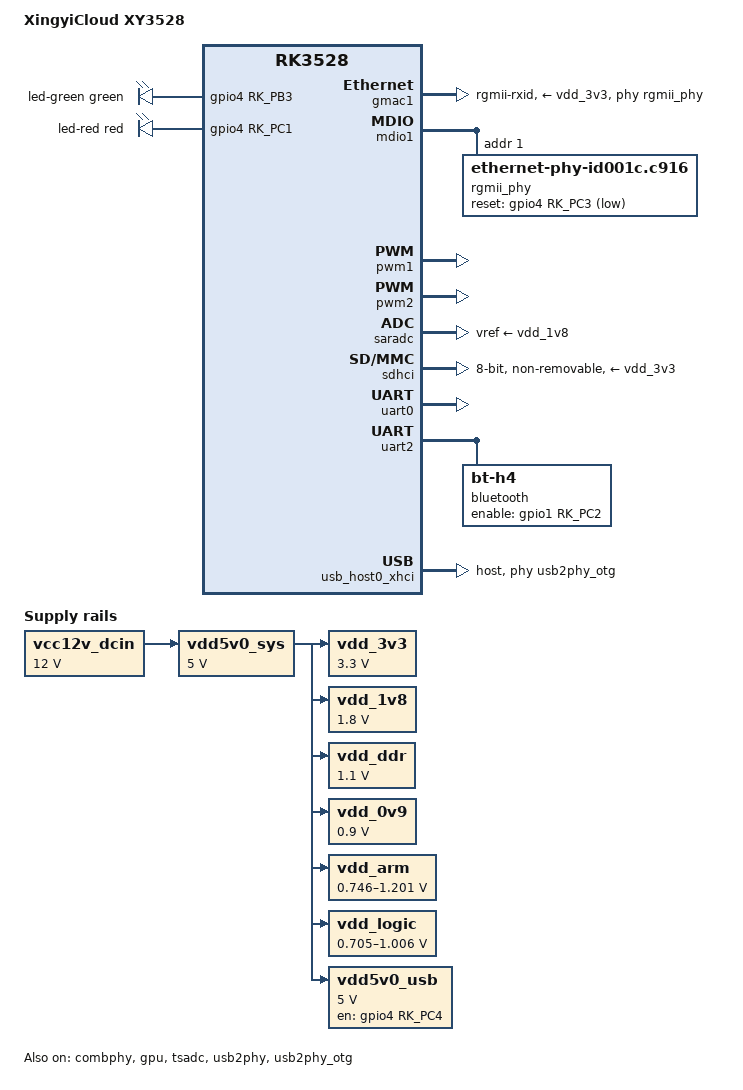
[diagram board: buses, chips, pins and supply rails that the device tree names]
// SPDX-License-Identifier: (GPL-2.0+ OR MIT)


/dts-v1/;

#include <dt-bindings/gpio/gpio.h>
#include <dt-bindings/input/input.h>
#include <dt-bindings/leds/common.h>
#include <dt-bindings/pwm/pwm.h>
#include "rk3528.dtsi"
#include "rk3528-op-pwm.dtsi"

/ {
	model = "XingyiCloud XY3528";
	compatible = "xingyicloud,xy3528", "rockchip,rk3528";

	aliases {
		ethernet0 = &gmac1;
		mmc0 = &sdhci;
		serial0 = &uart0;
		serial1 = &uart2;
	};

	chosen: chosen {
		stdout-path = "serial0:1500000n8";
	};

	reserved-memory {
		#address-cells = <2>;
		#size-cells = <2>;
		ranges;

		linux,cma {
			compatible = "shared-dma-pool";
			reusable;
			size = <0x0 0x04000000>;
			linux,cma-default;
		};
	};

	leds {
		compatible = "gpio-leds";
		pinctrl-names = "default";
		pinctrl-0 = <&power_led_pins>;

		led-green {
			color = <LED_COLOR_ID_GREEN>;
			function = LED_FUNCTION_POWER;
			gpios = <&gpio4 RK_PB3 GPIO_ACTIVE_HIGH>;
			default-state = "on";
		};

		led-red {
			color = <LED_COLOR_ID_RED>;
			function = LED_FUNCTION_POWER;
			gpios = <&gpio4 RK_PC1 GPIO_ACTIVE_HIGH>;
			default-state = "off";
		};
	};

	vcc12v_dcin: regulator-vcc12v-dcin {
		compatible = "regulator-fixed";
		regulator-name = "vcc12v_dcin";
		regulator-always-on;
		regulator-boot-on;
		regulator-min-microvolt = <12000000>;
		regulator-max-microvolt = <12000000>;
	};

	vdd5v0_sys: regulator-vdd5v0-sys {
		compatible = "regulator-fixed";
		regulator-name = "vdd5v0_sys";
		regulator-always-on;
		regulator-boot-on;
		regulator-min-microvolt = <5000000>;
		regulator-max-microvolt = <5000000>;
		vin-supply = <&vcc12v_dcin>;
	};

	vdd_3v3: regulator-vdd-3v3 {
		compatible = "regulator-fixed";
		regulator-name = "vdd_3v3";
		regulator-always-on;
		regulator-boot-on;
		regulator-min-microvolt = <3300000>;
		regulator-max-microvolt = <3300000>;
		vin-supply = <&vdd5v0_sys>;
	};

	vdd_1v8: regulator-vdd-1v8 {
		compatible = "regulator-fixed";
		regulator-name = "vdd_1v8";
		regulator-always-on;
		regulator-boot-on;
		regulator-min-microvolt = <1800000>;
		regulator-max-microvolt = <1800000>;
		vin-supply = <&vdd5v0_sys>;
	};

	vdd_ddr: regulator-vdd-ddr {
		compatible = "regulator-fixed";
		regulator-name = "vdd_ddr";
		regulator-always-on;
		regulator-boot-on;
		regulator-min-microvolt = <1100000>;
		regulator-max-microvolt = <1100000>;
		vin-supply = <&vdd5v0_sys>;
	};

	vdd_0v9: regulator-vdd-0v9 {
		compatible = "regulator-fixed";
		regulator-name = "vdd_0v9";
		regulator-always-on;
		regulator-boot-on;
		regulator-min-microvolt = <900000>;
		regulator-max-microvolt = <900000>;
		vin-supply = <&vdd5v0_sys>;
	};

	vdd_arm: regulator-vdd-arm {
		compatible = "pwm-regulator";
		pwms = <&pwm1 0 5000 PWM_POLARITY_INVERTED>;
		regulator-always-on;
		regulator-boot-on;
		regulator-init-microvolt = <953000>;
		regulator-min-microvolt = <746000>;
		regulator-max-microvolt = <1201000>;
		regulator-name = "vdd_arm";
		regulator-settling-time-up-us = <250>;
		pwm-supply = <&vdd5v0_sys>;
		status = "okay";
	};

	vdd_logic: regulator-vdd-logic {
		compatible = "pwm-regulator";
		pwms = <&pwm2 0 5000 PWM_POLARITY_INVERTED>;
		regulator-always-on;
		regulator-boot-on;
		regulator-init-microvolt = <950000>;
		regulator-min-microvolt = <705000>;
		regulator-max-microvolt = <1006000>;
		regulator-name = "vdd_logic";
		regulator-settling-time-up-us = <250>;
		pwm-supply = <&vdd5v0_sys>;
		status = "okay";
	};

	/*
	 * VBUS for the USB 3.0 host port.
	 * The port is wired to the single DWC3 (OTG) controller with its
	 * companion USB2 PHY; a load switch on GPIO4_C4 supplies VBUS.
	 */
	vdd5v0_usb: regulator-vdd5v0-usb {
		compatible = "regulator-fixed";
		enable-active-high;
		gpio = <&gpio4 RK_PC4 GPIO_ACTIVE_HIGH>;
		pinctrl-names = "default";
		pinctrl-0 = <&vdd5v0_usb_en>;
		regulator-always-on;
		regulator-boot-on;
		regulator-name = "vdd5v0_usb";
		regulator-min-microvolt = <5000000>;
		regulator-max-microvolt = <5000000>;
		vin-supply = <&vdd5v0_sys>;
	};
};

/* combination PHY: used in USB3 mode for the USB 3.0 port (no PCIe device) */
&combphy {
	status = "okay";
};

&cpu0 {
	cpu-supply = <&vdd_arm>;
};

&cpu1 {
	cpu-supply = <&vdd_arm>;
};

&cpu2 {
	cpu-supply = <&vdd_arm>;
};

&cpu3 {
	cpu-supply = <&vdd_arm>;
};

/*
 * Only GMAC1 is used on this board: RGMII to an external RTL8211F.
 * GMAC0 (RMII) is left disabled so that OpenWrt sees a single eth0.
 *
 * Delays follow the vendor Android tree: the PHY adds the RX delay
 * (phy-mode "rgmii-rxid") and the MAC adds the TX delay (tx_delay).
 */
&gmac1 {
	/*
	 * snps,tso can cause the netdev watchdog to time out on
	 * this GMAC; drop it.
	 */
	/delete-property/ snps,tso;

	clock_in_out = "output";
	phy-handle = <&rgmii_phy>;
	phy-mode = "rgmii-rxid";
	phy-supply = <&vdd_3v3>;

	pinctrl-names = "default";
	pinctrl-0 = <&rgmii_miim>, <&rgmii_tx_bus2>, <&rgmii_rx_bus2>,
		    <&rgmii_rgmii_clk>, <&rgmii_rgmii_bus>;

	tx_delay = <0x30>;
	rx_delay = <0x00>;

	status = "okay";
};

&gpu {
	mali-supply = <&vdd_logic>;
	status = "okay";
};

&mdio1 {
	rgmii_phy: ethernet-phy@1 {
		/* Realtek RTL8211F (phy id 0x001cc916) */
		compatible = "ethernet-phy-id001c.c916";
		reg = <0x1>;

		pinctrl-names = "default";
		pinctrl-0 = <&gmac1_reset_l>;

		/* RTL8211F requires 20 ms assert / 100 ms deassert */
		reset-assert-us = <20000>;
		reset-deassert-us = <100000>;
		reset-gpios = <&gpio4 RK_PC3 GPIO_ACTIVE_LOW>;
	};
};

&pinctrl {
	gmac {
		gmac1_reset_l: gmac1-reset-l {
			rockchip,pins = <4 RK_PC3 RK_FUNC_GPIO &pcfg_pull_none>;
		};
	};

	leds {
		power_led_pins: power-led-pins {
			rockchip,pins = <4 RK_PB3 RK_FUNC_GPIO &pcfg_pull_none>,
					<4 RK_PC1 RK_FUNC_GPIO &pcfg_pull_none>;
		};
	};

	usb {
		vdd5v0_usb_en: vdd5v0-usb-en {
			rockchip,pins = <4 RK_PC4 RK_FUNC_GPIO &pcfg_pull_none>;
		};
	};
};

&pwm1 {
	pinctrl-names = "default";
	pinctrl-0 = <&pwm1m0_pins>;
	status = "okay";
};

&pwm2 {
	pinctrl-names = "default";
	pinctrl-0 = <&pwm2m0_pins>;
	status = "okay";
};

&saradc {
	status = "okay";
	vref-supply = <&vdd_1v8>;
};

/* on-board 128 GiB eMMC */
&sdhci {
	bus-width = <8>;
	cap-mmc-highspeed;
	mmc-hs200-1_8v;
	no-sd;
	no-sdio;
	non-removable;
	pinctrl-names = "default";
	pinctrl-0 = <&emmc_clk>, <&emmc_cmd>, <&emmc_strb>, <&emmc_bus8>;
	vmmc-supply = <&vdd_3v3>;
	vqmmc-supply = <&vdd_1v8>;
	status = "okay";
};

&tsadc {
	status = "okay";
};

/* debug console: UART0 M0 on GPIO4_C7 (RX) / GPIO4_D0 (TX), 1.5 MBaud */
&uart0 {
	pinctrl-names = "default";
	pinctrl-0 = <&uart0m0_xfer>;
	status = "okay";
};

/*
 * Realtek RTL8761BTV bluetooth, UART attached.
 */
&uart2 {
	pinctrl-names = "default";
	pinctrl-0 = <&uart2m1_xfer>, <&uart2m1_ctsn>, <&uart2m1_rtsn>;
	uart-has-rtscts;
	status = "okay";

	bluetooth {
		compatible = "bt-h4";
		enable-gpios = <&gpio1 RK_PC2 GPIO_ACTIVE_HIGH>;
	};
};

&usb2phy {
	status = "okay";
};

/* the host port of the USB2 PHY is not wired out */
&usb2phy_host {
	status = "disabled";
};

&usb2phy_otg {
	status = "okay";
};

/* no USB2 host ports are populated */
&usb_host0_ehci {
	status = "disabled";
};

&usb_host0_ohci {
	status = "disabled";
};

/*
 * USB 3.0 port: DWC3 in host mode on the OTG controller, using the
 * OTG port of the USB2 PHY for USB2 fallback and the combination
 * PHY for SuperSpeed.
 */
&usb_host0_xhci {
	dr_mode = "host";
	phys = <&usb2phy_otg>, <&combphy PHY_TYPE_USB3>;
	phy-names = "usb2-phy", "usb3-phy";
	status = "okay";
};
